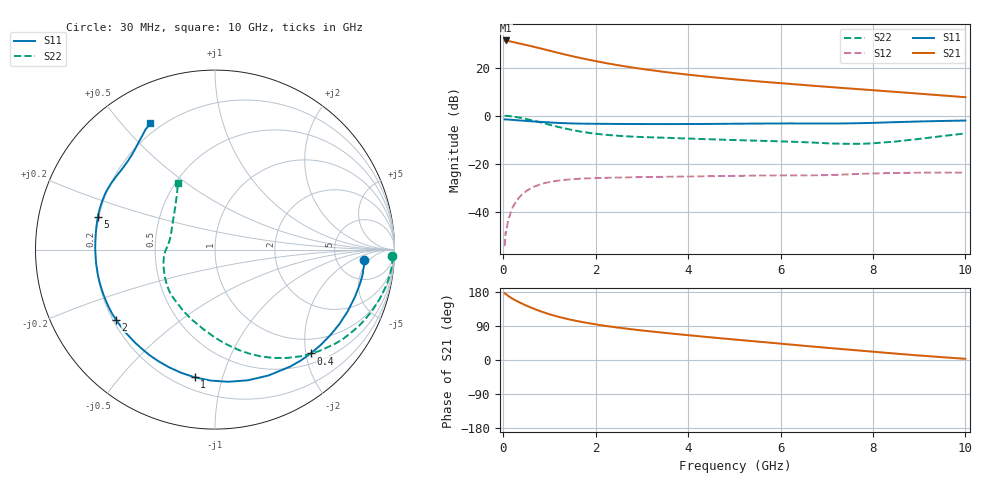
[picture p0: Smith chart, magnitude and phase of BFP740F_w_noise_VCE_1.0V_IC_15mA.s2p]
! Infineon Technologies  Discrete & RF Semiconductors
! BFP740F
! VCE =  1.0 V,  IC =  15 mA
! Common Emitter S-Parameters:  Oct 2012
# GHz  S  MA  R  50
!  f  S11  S21  S12  S22
! GHz  MAG  ANG  MAG  ANG  MAG  ANG  MAG  ANG
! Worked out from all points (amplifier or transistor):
!   99 points, 30 MHz to 10 GHz, reference 50 ohm
!   highest |S21| = 31.3 dB at 50 MHz (marker M1)
!   |S21| within 3 dB of that: start of sweep to 739.3 MHz
!   unconditionally stable (mu >= 1): 6.204 GHz to end of sweep
!   at 350 MHz: K = 0.11, MSG = 32.0 dB, |S12| = -34.0 dB
!   at 3.5 GHz: K = 0.61, MSG = 21.8 dB, |S12| = -25.5 dB
!   at 10 GHz: K = 1.28, MAG = 12.5 dB, |S12| = -23.8 dB
!   lowest NFmin = 0.53 dB at 450 MHz
!   S11 on the Smith chart (normalised r, x): 30 MHz: 10, -4; 400 MHz: 0.69, -2.10; 1 GHz: 0.28, -0.82; 2 GHz: 0.21, -0.30; 5 GHz: 0.20, +0.13; 10 GHz: 0.16, +0.60
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0.03  0.834 -4.0  36.47 176.7  0.0019 95.6  0.9879 -2.2
0.05  0.8353 -6.5  36.87 174.8  0.0037 88.4  0.9899 -4.1
0.09  0.8314 -11.7  36.47 170.8  0.0053 86.0  0.9863 -7.6
0.13  0.8247 -16.8  35.6 167.2  0.0079 85.0  0.9767 -11.1
0.2  0.815 -25.1  34.35 161.8  0.012 77.8  0.9575 -16.7
0.3  0.8004 -36.3  32.66 155.2  0.0174 71.3  0.9252 -24.3
0.4  0.7869 -47.3  31.08 149.2  0.0223 66.2  0.8877 -31.5
0.6  0.762 -67.0  28.13 138.4  0.0306 56.8  0.8073 -44.7
0.7  0.7508 -75.9  26.64 133.5  0.034 52.5  0.7667 -50.7
0.8  0.7401 -84.3  25.29 128.9  0.0368 48.5  0.7246 -56.4
1  0.7206 -99.0  22.62 120.8  0.0412 41.9  0.6465 -66.9
1.3  0.6973 -116.7  19.16 110.8  0.0455 34.3  0.5496 -80.3
1.5  0.6866 -126.3  17.28 105.3  0.0473 30.8  0.5003 -88.1
1.7  0.68 -134.7  15.67 100.4  0.0486 27.6  0.4606 -95.3
2  0.6757 -144.8  13.7 94.1  0.0501 24.1  0.4197 -105.4
2.6  0.6693 -159.9  10.77 83.8  0.0515 19.3  0.3738 -121.3
3.4  0.6665 -174.1  8.353 72.8  0.0529 15.9  0.3481 -135.5
5  0.6773 164.6  5.716 54.1  0.0555 12.4  0.3095 -156.2
5.1  0.679 163.4  5.605 53.0  0.0555 12.2  0.3075 -157.6
6.7  0.685 145.1  4.198 35.5  0.057 10.4  0.2742 -179.5
8.5  0.7314 125.8  3.117 16.8  0.0638 8.2  0.289 143.4
10  0.7895 117.1  2.421 3.1  0.0647 4.2  0.4254 119.0
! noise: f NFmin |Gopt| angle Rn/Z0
0.45  0.53  0.1  7  0.57
0.9  0.59  0.1  17  0.24
1.5  0.65  0.1  30  0.04
1.9  0.7  0.1  43  0.03
2.4  0.74  0.1  60  0.03
3.5  0.85  0.09  78  0.13
5.5  1.03  0.07  170  0.18
10  1.4  0.38  -111  0.12
